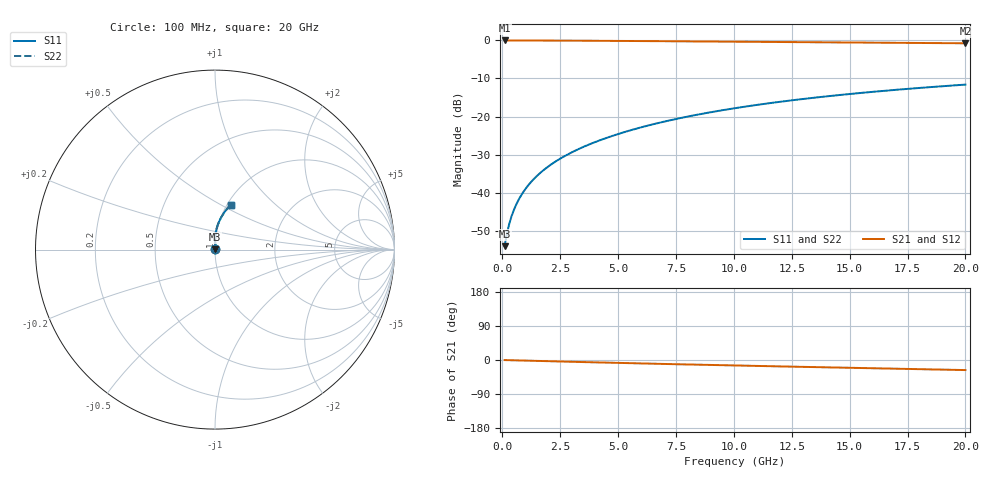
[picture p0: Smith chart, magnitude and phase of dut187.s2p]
! Touchstone file exported from HFSS 2024.1.0
!  File:  C:/UserFiles/LocalFiles/RDL_TSV_Batchsim/temp_RDL_top_187_1778686462.aedt
!  Generated:  11:36:34 PM May 13, 2026
!  Design:  RDL_top
!  Project:  temp_RDL_top_187_1778686462
!  Setup:  Setup1
!  Solution:  Sweep
! Variables:
!  dtsv = 10.80580581um
!  hbump = 3um
!  htsv = 72.35um
!  ldown = 100um
!  lrdl = 347.76um
!  p = 40
!  p1 = 55.65um
!  rhole = 1um
!  t = 450um
!  tdown = 3.915915916um
!  trdl = 3.57um
!  wdown = 15.38538539um
!  wrdl = 25.85um
# GHz S MA R 50.000000
! Terminal data exported
! Port[1] = Box2_T1
! Port[2] = Box2_T2
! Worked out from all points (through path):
!   200 points, 100 MHz to 20 GHz, reference 50 ohm
!   highest |S21| = -0.01 dB at 100 MHz (marker M1); lowest = -0.8 dB at 20 GHz (marker M2)
!   group delay of S21, straight-line fit = 3.64 ps
!   lowest |S11| = -54.0 dB at 100 MHz (marker M3), VSWR 1.00, Z = 50.2 + j0.122 ohm
!   |S11| at or under -10 dB: start of sweep to end of sweep
!   |S22| runs from -54.0 to -11.6 dB; largest |S21 - S12| = 4.7e-15
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0.1  0.001987 37.9  0.9984 -0.2  0.9984 -0.2  0.001987 37.9
! Gamma 0 0 0 0
! Port Impedance 50 0 50 0
0.2  0.002901 55.3  0.9983 -0.3  0.9983 -0.3  0.002901 55.3
0.3  0.0039 63.7  0.9982 -0.5  0.9982 -0.5  0.0039 63.7
0.4  0.004915 68.7  0.9981 -0.7  0.9981 -0.7  0.004915 68.7
0.5  0.00594 72.2  0.998 -0.8  0.998 -0.8  0.00594 72.2
0.6  0.006976 74.8  0.9979 -1.0  0.9979 -1.0  0.006976 74.8
0.8  0.009078 78.4  0.9976 -1.3  0.9976 -1.3  0.009078 78.4
1.1  0.01229 81.8  0.9972 -1.8  0.9972 -1.8  0.01229 81.8
1.5  0.01667 84.4  0.9966 -2.4  0.9966 -2.4  0.01667 84.4
1.8  0.02002 85.7  0.996 -2.9  0.996 -2.9  0.02002 85.7
2.1  0.02341 86.6  0.9953 -3.3  0.9953 -3.3  0.02341 86.6
2.7  0.03035 87.9  0.9936 -4.3  0.9936 -4.3  0.03035 87.9
3.5  0.03995 88.9  0.991 -5.5  0.991 -5.5  0.03995 88.9
4.2  0.04866 89.2  0.9883 -6.5  0.9883 -6.5  0.04866 89.2
5  0.05896 89.2  0.9849 -7.7  0.9849 -7.7  0.05896 89.2
6.8  0.08321 88.2  0.9768 -10.2  0.9768 -10.2  0.08321 88.2
8.4  0.1056 86.6  0.9694 -12.3  0.9694 -12.3  0.1056 86.6
10.1  0.1296 84.5  0.9616 -14.5  0.9616 -14.5  0.1296 84.5
11.7  0.1522 82.3  0.9543 -16.5  0.9543 -16.5  0.1522 82.3
13.4  0.1759 79.9  0.9466 -18.7  0.9466 -18.7  0.1759 79.9
16.7  0.2205 75.2  0.9317 -22.7  0.9317 -22.7  0.2205 75.2
20  0.2628 70.7  0.9165 -26.6  0.9165 -26.6  0.2628 70.7
